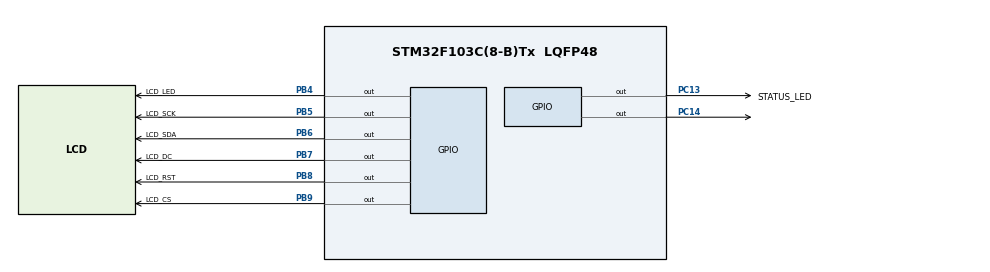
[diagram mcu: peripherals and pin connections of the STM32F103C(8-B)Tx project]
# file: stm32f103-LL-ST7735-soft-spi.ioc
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FREERTOS.Tasks01=defaultTask,0,256,StartDefaultTask,Default,NULL,Dynamic,NULL,NULL;myTask02,-3,256,StartTask02,Default,NULL,Dynamic,NULL,NULL;myTask03,-3,256,StartTask03,Default,NULL,Dynamic,NULL,NULL;myTask04,-3,256,StartTask04,Default,NULL,Dynamic,NULL,NULL
FREERTOS.configMINIMAL_STACK_SIZE=256
FREERTOS.configTOTAL_HEAP_SIZE=5680
Mcu.Family=STM32F1
Mcu.Name=STM32F103C(8-B)Tx
Mcu.Package=LQFP48
NVIC.PriorityGroup=NVIC_PRIORITYGROUP_4
PA13.Mode=Serial_Wire
PA13.Signal=SYS_JTMS-SWDIO
PA14.Mode=Serial_Wire
PA14.Signal=SYS_JTCK-SWCLK
PB4.GPIO_Label=LCD_LED
PB4.GPIO_ModeDefaultOutputPP=GPIO_MODE_OUTPUT_PP
PB4.GPIO_PuPd=GPIO_NOPULL
PB4.GPIO_Speed=GPIO_SPEED_FREQ_LOW
PB4.PinState=GPIO_PIN_RESET
PB4.Signal=GPIO_Output
PB5.GPIO_Label=LCD_SCK
PB5.GPIO_ModeDefaultOutputPP=GPIO_MODE_OUTPUT_PP
PB5.GPIO_PuPd=GPIO_NOPULL
PB5.GPIO_Speed=GPIO_SPEED_FREQ_HIGH
PB5.PinState=GPIO_PIN_RESET
PB5.Signal=GPIO_Output
PB6.GPIO_Label=LCD_SDA
PB6.GPIO_ModeDefaultOutputPP=GPIO_MODE_OUTPUT_PP
PB6.GPIO_PuPd=GPIO_NOPULL
PB6.GPIO_Speed=GPIO_SPEED_FREQ_HIGH
PB6.PinState=GPIO_PIN_RESET
PB6.Signal=GPIO_Output
PB7.GPIO_Label=LCD_DC
PB7.GPIO_ModeDefaultOutputPP=GPIO_MODE_OUTPUT_PP
PB7.GPIO_PuPd=GPIO_NOPULL
PB7.GPIO_Speed=GPIO_SPEED_FREQ_LOW
PB7.PinState=GPIO_PIN_RESET
PB7.Signal=GPIO_Output
PB8.GPIO_Label=LCD_RST
PB8.GPIO_ModeDefaultOutputPP=GPIO_MODE_OUTPUT_PP
PB8.GPIO_PuPd=GPIO_NOPULL
PB8.GPIO_Speed=GPIO_SPEED_FREQ_LOW
PB8.PinState=GPIO_PIN_RESET
PB8.Signal=GPIO_Output
PB9.GPIO_Label=LCD_CS
PB9.GPIO_ModeDefaultOutputPP=GPIO_MODE_OUTPUT_PP
PB9.GPIO_PuPd=GPIO_NOPULL
PB9.GPIO_Speed=GPIO_SPEED_FREQ_LOW
PB9.PinState=GPIO_PIN_RESET
PB9.Signal=GPIO_Output
PC13-TAMPER-RTC.GPIO_Label=STATUS_LED
PC13-TAMPER-RTC.GPIO_ModeDefaultOutputPP=GPIO_MODE_OUTPUT_PP
PC13-TAMPER-RTC.GPIO_PuPd=GPIO_NOPULL
PC13-TAMPER-RTC.GPIO_Speed=GPIO_SPEED_FREQ_LOW
PC13-TAMPER-RTC.PinState=GPIO_PIN_RESET
PC13-TAMPER-RTC.Signal=GPIO_Output
PC14-OSC32_IN.Signal=GPIO_Output
PD0-OSC_IN.Mode=HSE-External-Oscillator
PD0-OSC_IN.Signal=RCC_OSC_IN
PD1-OSC_OUT.Mode=HSE-External-Oscillator
PD1-OSC_OUT.Signal=RCC_OSC_OUT
ProjectManager.HeapSize=0x1000
ProjectManager.StackSize=0x800
ProjectManager.TargetToolchain=Makefile
RCC.ADCPresc=RCC_ADCPCLK2_DIV6
RCC.AHBFreq_Value=72000000
RCC.APB1CLKDivider=RCC_HCLK_DIV2
RCC.APB1Freq_Value=36000000
RCC.APB1TimFreq_Value=72000000
RCC.APB2Freq_Value=72000000
RCC.APB2TimFreq_Value=72000000
RCC.HCLKFreq_Value=72000000
RCC.PLLMUL=RCC_PLL_MUL9
RCC.PLLSourceVirtual=RCC_PLLSOURCE_HSE
RCC.SYSCLKFreq_VALUE=72000000
RCC.SYSCLKSource=RCC_SYSCLKSOURCE_PLLCLK
RCC.USBFreq_Value=72000000
VP_FREERTOS_VS_CMSIS_V1.Mode=CMSIS_V1
board=custom

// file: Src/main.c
/* USER CODE BEGIN Header */
/**
  ******************************************************************************
  * @file           : main.c
  * @brief          : Main program body
  ******************************************************************************
  * @attention
  *
  * <h2><center>&copy; Copyright (c) 2019 STMicroelectronics.
  * All rights reserved.</center></h2>
  *
  * This software component is licensed by ST under BSD 3-Clause license,
  * the "License"; You may not use this file except in compliance with the
  * License. You may obtain a copy of the License at:
  *                        opensource.org/licenses/BSD-3-Clause
  *
  ******************************************************************************
  */
/* USER CODE END Header */

#include "main.h"
#include "cmsis_os.h"
#include "gpio.h"

/* USER CODE BEGIN Includes */
#include "adc_cfg.h"
#include <math.h>
//#include <stdlib.h>
#include "ST7735.h"

#define m_PI 3.14159

extern uint16_t ST7735_WIDTH;
extern uint16_t ST7735_HEIGHT;

__STATIC_INLINE void DelayMicro(uint32_t __IO micros)
{
  micros *=(SystemCoreClock/1000000)/5;
  while(micros--);
}

void tft_test(void)
{
    /// /** <:
    for(uint16_t i=0;i<20;i++)
    {
      ST7735_FillScreen((uint16_t)random());
      LL_mDelay(150);
    }
    LL_mDelay(500);
    ST7735_FillScreen(ST7735_BLACK);
    for(uint16_t i=0;i<20;i++)
    {
      ST7735_FillRect(0, 0, ST7735_WIDTH/2-1, ST7735_HEIGHT/2-1, (uint16_t)random());
      LL_mDelay(100);
      ST7735_FillRect(ST7735_WIDTH/2, 0, ST7735_WIDTH-1, ST7735_HEIGHT/2-1, (uint16_t)random());
      LL_mDelay(100);
      ST7735_FillRect(0, ST7735_HEIGHT/2, ST7735_WIDTH/2-1, ST7735_HEIGHT-1, (uint16_t)random());
      LL_mDelay(100);
      ST7735_FillRect(ST7735_WIDTH/2, ST7735_HEIGHT/2, ST7735_WIDTH-1, ST7735_HEIGHT-1, (uint16_t)random());
      LL_mDelay(100);
    }
    LL_mDelay(500);
    ST7735_FillScreen(ST7735_BLACK);
    for(uint16_t i=0;i<1000;i++)
    {
      ST7735_FillRect((uint16_t)random()%ST7735_WIDTH,
                      (uint16_t)random()%ST7735_HEIGHT,
                      (uint16_t)random()%ST7735_WIDTH,
                      (uint16_t)random()%ST7735_HEIGHT,
                      (uint16_t)random());
      LL_mDelay(10);
    }
    LL_mDelay(500);
    ST7735_FillScreen(ST7735_BLACK);
    for(uint16_t i=0;i<15000;i++)
    {
      for(uint16_t j=0;j<100;j++)
      {
        ST7735_DrawPixel((uint16_t)random()%ST7735_WIDTH,
                         (uint16_t)random()%ST7735_HEIGHT,
                         ST7735_BLACK);
      }
      ST7735_DrawPixel((uint16_t)random()%ST7735_WIDTH,
                       (uint16_t)random()%ST7735_HEIGHT,
                       (uint16_t)random());
      DelayMicro(100);
    }
    LL_mDelay(500);
    for(uint16_t j=0;j<20;j++)
    {
      for(uint16_t i=0;i<ST7735_WIDTH;i++)
      {
        ST7735_DrawLine((uint16_t)random(),i,0,i,ST7735_HEIGHT-1);
      }
    }
    LL_mDelay(500);
    ST7735_FillScreen(ST7735_BLACK);
    for(uint16_t i=0;i<1000;i++)
    {
      ST7735_DrawLine((uint16_t)random(),
                      (uint16_t)random()%ST7735_WIDTH,
                      (uint16_t)random()%ST7735_HEIGHT,
                      (uint16_t)random()%ST7735_WIDTH,
                      (uint16_t)random()%ST7735_HEIGHT);
      LL_mDelay(10);
    }
    LL_mDelay(500);
    ST7735_FillScreen(ST7735_BLACK);
    for(uint16_t j=0;j<20;j++)
    {
      for(uint16_t i=0;i<ST7735_WIDTH/2;i++)
      {
        ST7735_DrawRect((uint16_t)random(), i, i, ST7735_WIDTH-i-1, ST7735_HEIGHT-i-1);
      }
    }
    LL_mDelay(500);
    ST7735_FillScreen(ST7735_BLACK);
    for(uint16_t i=0;i<1000;i++)
    {
      ST7735_DrawCircle((uint16_t)random()%(ST7735_WIDTH-40)+20,
                         (uint16_t)random()%(ST7735_HEIGHT-40)+20,
                         20,(uint16_t)random());
      LL_mDelay(3);
    }
    LL_mDelay(500);

    ST7735_FillScreen(ST7735_BLACK);
    LL_mDelay(500);

    ST7735_FillScreen(ST7735_BLACK);
    ST7735_SetTextColor(ST7735_YELLOW);
    ST7735_SetBackColor(ST7735_BLUE);
    ST7735_SetFont(&Font24);
    ST7735_DrawChar(10,10,'S');
    ST7735_DrawChar(27,10,('t'));
    ST7735_DrawChar(44,10,('m'));
    ST7735_DrawChar(61,10,('3'));
    ST7735_DrawChar(78,10,('2'));
    ST7735_SetTextColor(ST7735_GREEN);
    ST7735_SetBackColor(ST7735_RED);
    ST7735_SetFont(&Font20);
    ST7735_DrawChar(10,34,('S'));
    ST7735_DrawChar(24,34,('t'));
    ST7735_DrawChar(38,34,('m'));
    ST7735_DrawChar(52,34,('3'));
    ST7735_DrawChar(66,34,('2'));
    ST7735_SetTextColor(ST7735_BLUE);
    ST7735_SetBackColor(ST7735_YELLOW);
    ST7735_SetFont(&Font16);
    ST7735_DrawChar(10,54,('S'));
    ST7735_DrawChar(21,54,('t'));
    ST7735_DrawChar(32,54,('m'));
    ST7735_DrawChar(43,54,('3'));
    ST7735_DrawChar(54,54,('2'));
    ST7735_SetTextColor(ST7735_CYAN);
    ST7735_SetBackColor(ST7735_BLACK);
    ST7735_SetFont(&Font12);
    ST7735_DrawChar(10,70,('S'));
    ST7735_DrawChar(17,70,('t'));
    ST7735_DrawChar(24,70,('m'));
    ST7735_DrawChar(31,70,('3'));
    ST7735_DrawChar(38,70,('2'));
    ST7735_SetTextColor(ST7735_RED);
    ST7735_SetBackColor(ST7735_GREEN);
    ST7735_SetFont(&Font8);
    ST7735_DrawChar(10,82,('S'));
    ST7735_DrawChar(15,82,('t'));
    ST7735_DrawChar(20,82,('m'));
    ST7735_DrawChar(25,82,('3'));
    ST7735_DrawChar(30,82,('2'));
    ST7735_SetTextColor(ST7735_YELLOW);
    ST7735_SetBackColor(ST7735_BLUE);
    LL_mDelay(1000);
    ST7735_FillScreen(ST7735_BLACK);
    /// */

    for(uint16_t i=0;i<16;i++)
    {
      ST7735_SetRotation(i%4);
      ST7735_SetFont(&Font24);
      ST7735_FillScreen(ST7735_BLACK);
      ST7735_String(1,10,"ABCDEF12345678");
      ST7735_SetFont(&Font20);
      ST7735_String(1,30,"ABCDEFGHI12345678");
      ST7735_SetFont(&Font16);
      ST7735_String(1,50,"ABCDEFGHIKL123456789");
      ST7735_SetFont(&Font12);
      ST7735_String(1,70,"ABCDEFGHIKLMNOPQRSTUVWXY 123456789");
      ST7735_SetFont(&Font8);
      ST7735_String(1,90,"ABCDEFGHIKLMNOPQRSTUVWXYZ 123456789ABCDEFGHIKL");
      LL_mDelay(1000);
    }
    LL_mDelay(1000);
    ST7735_SetRotation(0);
}

uint32_t tim_counter = 0;

void stled_off(void)
{
  LL_GPIO_SetOutputPin(STATUS_LED_GPIO_Port, STATUS_LED_Pin);
}

void stled_on(void)
{
  LL_GPIO_ResetOutputPin(STATUS_LED_GPIO_Port, STATUS_LED_Pin);
}

/* USER CODE END Includes */

/* USER CODE BEGIN PV */
/* Private variables ---------------------------------------------------------*/

/* USER CODE END PV */

void SystemClock_Config(void);
void MX_FREERTOS_Init(void);
/* USER CODE BEGIN PFP */
/* Private function prototypes -----------------------------------------------*/

/* USER CODE END PFP */

int main(void)
{

  /* MCU Configuration--------------------------------------------------------*/

  /* Reset of all peripherals, Initializes the Flash interface and the Systick. */

  LL_APB2_GRP1_EnableClock(LL_APB2_GRP1_PERIPH_AFIO);
  LL_APB1_GRP1_EnableClock(LL_APB1_GRP1_PERIPH_PWR);

  NVIC_SetPriorityGrouping(NVIC_PRIORITYGROUP_4);

  /* System interrupt init*/
  /* PendSV_IRQn interrupt configuration */
  NVIC_SetPriority(PendSV_IRQn, NVIC_EncodePriority(NVIC_GetPriorityGrouping(),15, 0));
  /* SysTick_IRQn interrupt configuration */
  NVIC_SetPriority(SysTick_IRQn, NVIC_EncodePriority(NVIC_GetPriorityGrouping(),15, 0));

  /** NOJTAG: JTAG-DP Disabled and SW-DP Enabled
  */
  LL_GPIO_AF_Remap_SWJ_NOJTAG();

  /* Configure the system clock */
  SystemClock_Config();

  /* Initialize all configured peripherals */
  MX_GPIO_Init();
  /* USER CODE BEGIN 2 */
  ADC_Init(ADC1);
  stled_off();

  ST7735_ini(128, 160);
  ST7735_SetRotation(1);

  for(uint8_t i=0;i<10;i++)
  {
    ST7735_FillScreen((uint16_t)random());
    ST7735_FillScreen(ST7735_RED);
    ST7735_FillScreen(ST7735_GREEN);
    ST7735_FillScreen(ST7735_BLUE);
  }

  for(uint8_t i=0;i<4;i++)
      tft_test();

  /* USER CODE END 2 */

  /* Call init function for freertos objects (in freertos.c) */
  MX_FREERTOS_Init();

  /* Start scheduler */
  osKernelStart();

  /* We should never get here as control is now taken by the scheduler */

  /* Infinite loop */
  /* USER CODE BEGIN WHILE */

  // HAL_TIM_Base_Init(&htim3);
  // HAL_TIM_PeriodElapsedCallback(&htim3);
  // HAL_TIM_Base_Start_IT(&htim3); //запустим таймер

  // HAL_TIM_Base_Init(&htim4);
  // HAL_TIM_Base_Start_IT(&htim4); //запустим таймер

  for(uint8_t i=0;i<31;i++)
  {
    LL_GPIO_TogglePin(STATUS_LED_GPIO_Port, STATUS_LED_Pin);
    LL_mDelay(25);
  }

  while (1)
  {
    /* USER CODE END WHILE */

    /* USER CODE BEGIN 3 */
    for(uint16_t i = 0; i < 320; i++) // measurement and display redraw
    {
      LL_mDelay(1);
    }
  }
  /* USER CODE END 3 */
}

void SystemClock_Config(void)
{
  LL_FLASH_SetLatency(LL_FLASH_LATENCY_2);

   if(LL_FLASH_GetLatency() != LL_FLASH_LATENCY_2)
  {
    Error_Handler();
  }
  LL_RCC_HSE_Enable();

   /* Wait till HSE is ready */
  while(LL_RCC_HSE_IsReady() != 1)
  {

  }
  LL_RCC_PLL_ConfigDomain_SYS(LL_RCC_PLLSOURCE_HSE_DIV_1, LL_RCC_PLL_MUL_16);
  LL_RCC_PLL_Enable();

   /* Wait till PLL is ready */
  while(LL_RCC_PLL_IsReady() != 1)
  {

  }
  LL_RCC_SetAHBPrescaler(LL_RCC_SYSCLK_DIV_1);
  LL_RCC_SetAPB1Prescaler(LL_RCC_APB1_DIV_2);
  LL_RCC_SetAPB2Prescaler(LL_RCC_APB2_DIV_1);
  LL_RCC_SetSysClkSource(LL_RCC_SYS_CLKSOURCE_PLL);

   /* Wait till System clock is ready */
  while(LL_RCC_GetSysClkSource() != LL_RCC_SYS_CLKSOURCE_STATUS_PLL)
  {

  }
  LL_Init1msTick(128000000);
  LL_SYSTICK_SetClkSource(LL_SYSTICK_CLKSOURCE_HCLK);
  LL_SetSystemCoreClock(128000000);
}

void Error_Handler(void)
{
}

/************************ (C) COPYRIGHT STMicroelectronics *****END OF FILE****/

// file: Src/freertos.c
/* USER CODE BEGIN Header */
/**
  ******************************************************************************
  * File Name          : freertos.c
  * Description        : Code for freertos applications
  ******************************************************************************
  * @attention
  *
  * <h2><center>&copy; Copyright (c) 2019 STMicroelectronics.
  * All rights reserved.</center></h2>
  *
  * This software component is licensed by ST under Ultimate Liberty license
  * SLA0044, the "License"; You may not use this file except in compliance with
  * the License. You may obtain a copy of the License at:
  *                             www.st.com/SLA0044
  *
  ******************************************************************************
  */
/* USER CODE END Header */

#include "FreeRTOS.h"
#include "task.h"
#include "main.h"
#include "cmsis_os.h"

/* USER CODE BEGIN Includes */
#include "ST7735.h"
#include "adc_cfg.h"
#include "task_os.h"

/* USER CODE END Includes */

osThreadId defaultTaskHandle;
osThreadId myTask02Handle;
osThreadId myTask03Handle;
osThreadId myTask04Handle;

void StartDefaultTask(void const * argument);
void StartTask02(void const * argument);
void StartTask03(void const * argument);
void StartTask04(void const * argument);

void MX_FREERTOS_Init(void); /* (MISRA C 2004 rule 8.1) */

/* GetIdleTaskMemory prototype (linked to static allocation support) */
void vApplicationGetIdleTaskMemory( StaticTask_t **ppxIdleTaskTCBBuffer, StackType_t **ppxIdleTaskStackBuffer, uint32_t *pulIdleTaskStackSize );

/* USER CODE BEGIN GET_IDLE_TASK_MEMORY */
static StaticTask_t xIdleTaskTCBBuffer;
static StackType_t xIdleStack[configMINIMAL_STACK_SIZE];

void vApplicationGetIdleTaskMemory( StaticTask_t **ppxIdleTaskTCBBuffer, StackType_t **ppxIdleTaskStackBuffer, uint32_t *pulIdleTaskStackSize )
{
  *ppxIdleTaskTCBBuffer = &xIdleTaskTCBBuffer;
  *ppxIdleTaskStackBuffer = &xIdleStack[0];
  *pulIdleTaskStackSize = configMINIMAL_STACK_SIZE;
  /* place for user code */
}
/* USER CODE END GET_IDLE_TASK_MEMORY */

void MX_FREERTOS_Init(void) {

  /* Create the thread(s) */
  /* definition and creation of defaultTask */
  osThreadDef(defaultTask, StartDefaultTask, osPriorityNormal, 0, 256);
  defaultTaskHandle = osThreadCreate(osThread(defaultTask), NULL);

  /* definition and creation of myTask02 */
  osThreadDef(myTask02, StartTask02, osPriorityIdle, 0, 256);
  myTask02Handle = osThreadCreate(osThread(myTask02), NULL);

  /* definition and creation of myTask03 */
  osThreadDef(myTask03, StartTask03, osPriorityIdle, 0, 256);
  myTask03Handle = osThreadCreate(osThread(myTask03), NULL);

  /* definition and creation of myTask04 */
  osThreadDef(myTask04, StartTask04, osPriorityIdle, 0, 256);
  myTask04Handle = osThreadCreate(osThread(myTask04), NULL);

}

void StartDefaultTask(void const * argument)
{
  /* USER CODE BEGIN StartDefaultTask */
  /* Infinite loop */
  for(;;)
  {
    osDelay(2);
    DefaultTask(argument);
  }
  /* USER CODE END StartDefaultTask */
}

void StartTask02(void const * argument)
{
  /* USER CODE BEGIN StartTask02 */
  /* Infinite loop */
  for(;;)
  {
    osDelay(2);
    Task02(argument);
  }
  /* USER CODE END StartTask02 */
}

void StartTask03(void const * argument)
{
  /* USER CODE BEGIN StartTask03 */
  /* Infinite loop */
  for(;;)
  {
    osDelay(10);
    Task03(argument);
  }
  /* USER CODE END StartTask03 */
}

void StartTask04(void const * argument)
{
  /* USER CODE BEGIN StartTask04 */
  /* Infinite loop */
  for(;;)
  {
    osDelay(25);
    Task04(argument);
  }
  /* USER CODE END StartTask04 */
}

/************************ (C) COPYRIGHT STMicroelectronics *****END OF FILE****/
